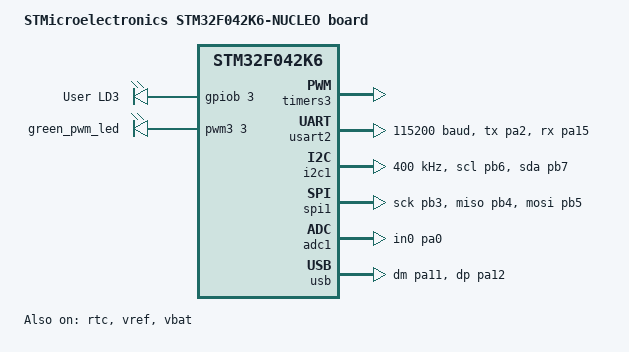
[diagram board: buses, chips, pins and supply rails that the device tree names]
/*
 * Copyright (c) 2023 STMicroelectronics
 *
 * SPDX-License-Identifier: Apache-2.0
 */

/dts-v1/;
#include <st/f0/stm32f042X6.dtsi>
#include <st/f0/stm32f042k(4-6)tx-pinctrl.dtsi>

/ {
	model = "STMicroelectronics STM32F042K6-NUCLEO board";
	compatible = "st,stm32f042k6-nucleo";

	chosen {
		zephyr,console = &usart2;
		zephyr,shell-uart = &usart2;
		zephyr,sram = &sram0;
		zephyr,flash = &flash0;
	};

	leds: leds {
		compatible = "gpio-leds";
		green_led_3: led_3 {
			gpios = <&gpiob 3 GPIO_ACTIVE_HIGH>;
			label = "User LD3";
		};
	};

	pwmleds {
		compatible = "pwm-leds";
		green_pwm_led: green_pwm_led {
			pwms = <&pwm3 3 PWM_MSEC(20) PWM_POLARITY_NORMAL>;
		};
	};

	aliases {
		led0 = &green_led_3;
		pwm-led0 = &green_pwm_led;
		volt-sensor0 = &vref;
		volt-sensor1 = &vbat;
	};
};

&clk_lsi {
	status = "okay";
};

&clk_hsi {
	status = "okay";
};

&pll {
	prediv = <1>;
	mul = <6>;
	clocks = <&clk_hsi>;
	status = "okay";
};

&rcc {
	clocks = <&pll>;
	clock-frequency = <DT_FREQ_M(48)>;
	ahb-prescaler = <1>;
	apb1-prescaler = <1>;
};

&timers3 {
	status = "okay";
	st,prescaler = <10000>;

	pwm3: pwm {
		status = "okay";
		pinctrl-0 = <&tim3_ch3_pb0>;
		pinctrl-names = "default";
	};
};

&usart2 {
	pinctrl-0 = <&usart2_tx_pa2 &usart2_rx_pa15>;
	pinctrl-names = "default";
	current-speed = <115200>;
	status = "okay";
};

&i2c1 {
	pinctrl-0 = <&i2c1_scl_pb6 &i2c1_sda_pb7>;
	pinctrl-names = "default";
	status = "okay";
	clock-frequency = <I2C_BITRATE_FAST>;
};

&spi1 {
	pinctrl-0 = <&spi1_sck_pb3 &spi1_miso_pb4 &spi1_mosi_pb5>;
	pinctrl-names = "default";
	cs-gpios = <&gpioa 11 (GPIO_ACTIVE_LOW | GPIO_PULL_UP)>;
	status = "okay";
};

&adc1 {
	pinctrl-0 = <&adc_in0_pa0>;
	pinctrl-names = "default";
	st,adc-clock-source = <SYNC>;
	st,adc-prescaler = <4>;
	status = "okay";
};

&rtc {
	clocks = <&rcc STM32_CLOCK_BUS_APB1 0x10000000>,
		 <&rcc STM32_SRC_LSI RTC_SEL(2)>;
	status = "okay";
};

&vref {
	status = "okay";
};

&vbat {
	status = "okay";
};

zephyr_udc0: &usb {
	pinctrl-0 = <&usb_dm_pa11 &usb_dp_pa12>;
	pinctrl-names = "default";
	status = "okay";
};
